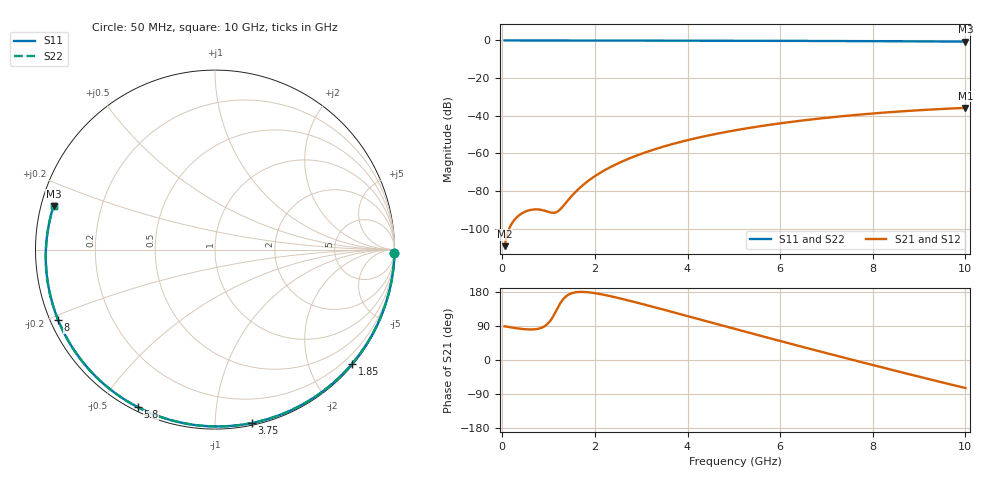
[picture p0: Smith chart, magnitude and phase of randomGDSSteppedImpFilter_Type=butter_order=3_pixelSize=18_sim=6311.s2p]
! freq	dB(S11)	phase(S11)	dB(S12)	phase(S12)
!  dB(S21)	phase(S21)	dB(S22)	phase(S22)
!S-par simulation data
#  GHz  S  DB  R 50
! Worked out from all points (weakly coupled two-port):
!   200 points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, 50 MHz to 10 GHz, reference 50 ohm
!   highest |S21| = -35.80 dB at 10 GHz (marker M1); lowest = -109.2 dB at 50 MHz (marker M2)
!   lowest |S11| = -0.6 dB at 10 GHz (marker M3), VSWR 28.31, Z = 1.8 + j6.6 ohm
!   |S11| at or under -10 dB: nowhere
!   |S22| runs from -0.6 to 0.0 dB; largest |S21 - S12| = 0
!   S11 on the Smith chart (normalised r, x): 50 MHz: open; 1.85 GHz: 0.03, -2.76; 3.75 GHz: 0.02, -1.23; 5.8 GHz: 0.02, -0.62; 8 GHz: 0.02, -0.21; 10 GHz: 0.04, +0.13
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0.05  -0.00 -1.1  -109.21 88.9  -109.21 88.9  -0.00 -1.1
0.4  -0.01 -8.8  -92.15 82.3  -92.15 82.3  -0.01 -8.8
0.8  -0.02 -17.4  -89.78 83.1  -89.78 83.1  -0.02 -17.4
1.6  -0.04 -34.5  -79.94 179.0  -79.94 179.0  -0.04 -34.5
1.75  -0.05 -37.7  -76.60 179.7  -76.60 179.7  -0.05 -37.7
1.85  -0.05 -39.8  -74.64 178.8  -74.64 178.8  -0.05 -39.8
2.15  -0.06 -46.0  -69.74 173.1  -69.74 173.1  -0.06 -46.0
2.5  -0.07 -53.2  -65.24 163.8  -65.24 163.8  -0.07 -53.2
2.9  -0.08 -61.3  -61.11 151.6  -61.11 151.6  -0.08 -61.3
3.4  -0.09 -71.2  -56.94 135.6  -56.94 135.6  -0.09 -71.2
3.75  -0.11 -78.0  -54.50 124.1  -54.50 124.1  -0.11 -78.0
4.4  -0.13 -90.4  -50.69 102.6  -50.69 102.6  -0.13 -90.4
5.05  -0.16 -102.5  -47.60 81.2  -47.60 81.2  -0.16 -102.5
5.8  -0.20 -116.1  -44.68 56.6  -44.68 56.6  -0.20 -116.1
6.7  -0.26 -132.2  -41.86 27.7  -41.86 27.7  -0.26 -132.2
7.35  -0.31 -143.9  -40.19 7.1  -40.19 7.1  -0.31 -143.9
8  -0.37 -155.7  -38.77 -13.3  -38.77 -13.3  -0.37 -155.7
8.35  -0.41 -162.2  -38.11 -24.1  -38.11 -24.1  -0.41 -162.2
8.8  -0.46 -170.8  -37.34 -37.9  -37.34 -37.9  -0.46 -170.8
9.2  -0.51 -178.6  -36.75 -50.1  -36.75 -50.1  -0.51 -178.6
9.6  -0.56 173.3  -36.23 -62.1  -36.23 -62.1  -0.56 173.3
10  -0.61 164.9  -35.80 -74.0  -35.80 -74.0  -0.61 164.9
